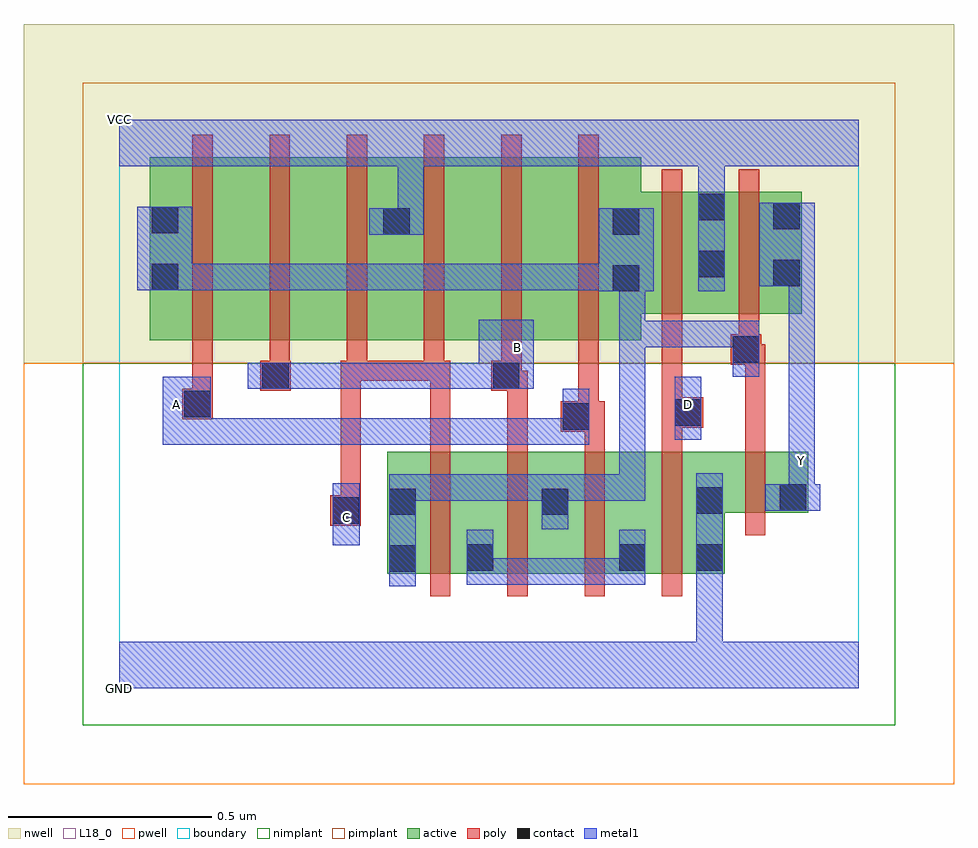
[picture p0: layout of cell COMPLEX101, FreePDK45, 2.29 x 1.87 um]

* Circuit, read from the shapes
.subckt COMPLEX101 A B C D GND VCC Y
M1 n1 C n2 VSUBS nfet w=0.3u l=0.05u
M2 n2 B n1 VSUBS nfet w=0.3u l=0.05u
M3 n1 A n2 VSUBS nfet w=0.3u l=0.05u
M4 GND D n1 VSUBS nfet w=0.3u l=0.05u
M5 Y n2 GND VSUBS nfet w=0.15u l=0.05u
M6 n3 A n2 n4 pfet w=0.45u l=0.05u
M7 n5 B n3 n4 pfet w=0.45u l=0.05u
M8 VCC C n5 n4 pfet w=0.45u l=0.05u
M9 n6 C VCC n4 pfet w=0.45u l=0.05u
M10 n7 B n6 n4 pfet w=0.45u l=0.05u
M11 n2 A n7 n4 pfet w=0.45u l=0.05u
M12 VCC D n2 n4 pfet w=0.3u l=0.05u
M13 Y n2 VCC n4 pfet w=0.3u l=0.05u
.ends

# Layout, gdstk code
import gdstk
lib = gdstk.Library(unit=1e-6, precision=1e-09)
def R(c, l, rs):  # rectangles x0, y0, x1, y1
    for r in rs: c.add(gdstk.rectangle(r[:2], r[2:], *l))
def A(c, l, x, y, w, h, nx, ny, dx, dy):  # array of equal rectangles
    R(c, l, [(x+i*dx, y+j*dy, x+i*dx+w, y+j*dy+h) for i in range(nx) for j in range(ny)])
active = (1, 0)
pwell = (2, 0)
nwell = (3, 0)
nimplant = (4, 0)
pimplant = (5, 0)
poly = (9, 0)
contact = (10, 0)
metal1 = (11, 0)
L18_0 = (18, 0)
boundary = (235, 0)

complex101 = lib.new_cell('COMPLEX101')
R(complex101, active, [(0.66,0.282,0.735,0.582), (0.66,0.282,0.925,0.582), (0.85,0.282,1.11,0.582), (1.035,0.282,1.3,0.582), (1.225,0.282,1.49,0.582), (1.415,0.282,1.49,0.582), (0.85,0.285,0.925,0.417), (1.225,0.285,1.3,0.402), (1.035,0.33,1.11,0.497), (1.415,0.432,1.695,0.582), (1.62,0.432,1.695,0.582), (0.075,0.857,0.3,1.307), (0.075,0.857,0.18,1.2), (0.3,0.857,0.49,1.307), (0.49,0.857,0.72,1.307), (0.645,0.857,0.87,1.307), (0.645,0.857,0.72,1.307), (0.87,0.857,1.06,1.307), (1.06,0.857,1.285,1.307), (1.21,0.922,1.495,1.222), (1.42,0.922,1.495,1.222), (1.42,0.922,1.68,1.222), (1.605,0.922,1.68,1.2), (1.21,0.972,1.285,1.2)])
R(complex101, pwell, [(-0.235,-0.235,2.055,0.8)])
R(complex101, nwell, [(-0.235,0.8,2.055,1.635)])
R(complex101, nimplant, [(-0.09,-0.09,1.91,0.8)])
R(complex101, pimplant, [(-0.09,0.8,1.91,1.49)])
A(complex101, poly, 0.765, 0.227, 0.05, 0.41, 4, 1, 0.19, 0)
A(complex101, poly, 0.37, 0.757, 0.05, 0.095, 4, 1, 0.19, 0)
A(complex101, poly, 0.18, 0.802, 0.05, 0.56, 6, 1, 0.19, 0)
R(complex101, poly, [(1.54,0.377,1.59,0.637), (0.52,0.4,0.595,0.475), (0.545,0.425,0.595,0.807), (0.765,0.587,0.815,0.807), (0.955,0.587,1.005,0.782), (1.145,0.587,1.195,0.682), (1.335,0.587,1.385,0.692), (1.54,0.587,1.59,0.847), (1.087,0.632,1.195,0.707), (1.335,0.642,1.437,0.717), (1.13,0.657,1.18,0.707), (1.13,0.657,1.18,0.707), (1.13,0.657,1.18,0.852), (0.155,0.662,0.23,0.737), (1.335,0.667,1.385,0.717), (1.335,0.667,1.385,0.717), (1.335,0.667,1.385,0.917), (0.18,0.687,0.23,0.737), (0.18,0.687,0.23,0.737), (0.18,0.687,0.23,0.852), (0.347,0.732,0.422,0.807), (0.915,0.732,0.99,0.807), (0.94,0.732,0.99,0.782), (0.94,0.732,1.005,0.782), (0.545,0.757,0.595,0.807), (0.545,0.757,0.595,0.807), (0.545,0.757,0.595,0.807), (0.545,0.757,0.595,0.807), (0.545,0.757,0.61,0.807), (0.56,0.757,0.8,0.807), (0.75,0.757,0.8,0.807), (0.75,0.757,0.8,0.807), (0.75,0.757,0.8,0.807), (0.75,0.757,0.8,0.807), (0.75,0.757,0.815,0.807), (1.505,0.797,1.58,0.872), (1.53,0.797,1.58,0.847), (1.53,0.797,1.59,0.847), (1.525,0.822,1.575,0.917), (1.335,0.867,1.385,1.277), (1.525,0.867,1.575,1.277)])
R(complex101, contact, [(0.665,0.287,0.73,0.352), (0.855,0.29,0.92,0.355), (1.23,0.29,1.295,0.355), (1.42,0.29,1.485,0.355), (0.525,0.405,0.59,0.47), (0.665,0.427,0.73,0.492), (1.04,0.427,1.105,0.492), (1.42,0.43,1.485,0.495), (1.625,0.437,1.69,0.502), (1.092,0.637,1.157,0.702), (1.367,0.647,1.432,0.712), (0.16,0.667,0.225,0.732), (0.352,0.737,0.417,0.802), (0.92,0.737,0.985,0.802), (1.51,0.802,1.575,0.867), (1.215,0.977,1.28,1.042), (0.08,0.98,0.145,1.045), (1.61,0.99,1.675,1.055), (1.425,1.012,1.49,1.077), (0.65,1.117,0.715,1.182), (1.215,1.117,1.28,1.182), (0.08,1.12,0.145,1.185), (1.61,1.13,1.675,1.195), (1.425,1.152,1.49,1.217)])
R(complex101, metal1, [(0,0,1.82,0.115), (1.42,0.05,1.485,0.115), (1.42,0.05,1.485,0.115), (1.42,0.05,1.485,0.32), (0.665,0.252,0.73,0.527), (0.855,0.255,0.92,0.32), (0.855,0.255,0.92,0.32), (0.855,0.255,0.92,0.39), (0.855,0.255,1.107,0.32), (1.042,0.255,1.107,0.32), (1.042,0.255,1.295,0.32), (1.23,0.255,1.295,0.32), (1.23,0.255,1.295,0.32), (1.23,0.255,1.295,0.39), (1.42,0.255,1.485,0.32), (1.42,0.255,1.485,0.32), (1.42,0.255,1.485,0.53), (0.525,0.352,0.592,0.505), (1.04,0.392,1.105,0.527), (1.59,0.437,1.725,0.502), (1.647,0.437,1.712,0.557), (0.665,0.462,0.73,0.527), (0.665,0.462,0.73,0.527), (0.665,0.462,0.95,0.527), (0.885,0.462,0.95,0.527), (0.885,0.462,0.95,0.527), (0.885,0.462,0.95,0.527), (0.885,0.462,1.105,0.527), (1.04,0.462,1.295,0.527), (1.23,0.462,1.295,0.527), (1.23,0.462,1.295,0.527), (1.23,0.462,1.295,0.527), (1.23,0.462,1.295,0.527), (1.23,0.462,1.295,0.527), (1.23,0.462,1.295,0.905), (1.647,0.492,1.712,0.627), (1.647,0.562,1.712,1.055), (0.107,0.6,0.225,0.767), (0.16,0.6,0.362,0.665), (0.297,0.6,0.362,0.665), (0.297,0.6,0.362,0.665), (0.297,0.6,0.362,0.665), (0.297,0.6,0.5,0.665), (0.435,0.6,0.5,0.665), (0.435,0.6,0.592,0.665), (0.527,0.6,0.592,0.665), (0.527,0.6,0.73,0.665), (0.665,0.6,0.73,0.665), (0.665,0.6,0.73,0.665), (0.665,0.6,0.73,0.665), (0.665,0.6,0.867,0.665), (0.802,0.6,0.867,0.665), (0.802,0.6,0.867,0.665), (0.802,0.6,0.867,0.665), (0.802,0.6,1.087,0.665), (1.022,0.6,1.087,0.665), (1.022,0.6,1.157,0.665), (1.092,0.6,1.157,0.737), (1.367,0.612,1.432,0.767), (0.317,0.737,0.452,0.802), (0.387,0.737,0.5,0.802), (0.435,0.737,0.5,0.802), (0.435,0.737,0.592,0.802), (0.527,0.737,0.592,0.802), (0.527,0.737,0.73,0.802), (0.665,0.737,0.73,0.802), (0.665,0.737,0.73,0.802), (0.665,0.737,0.73,0.802), (0.665,0.737,0.95,0.802), (0.885,0.737,0.95,0.802), (0.885,0.737,0.95,0.802), (0.885,0.737,1.02,0.907), (1.51,0.767,1.575,0.905), (1.23,0.84,1.295,0.905), (1.23,0.84,1.437,0.905), (1.23,0.84,1.295,1.042), (1.372,0.84,1.437,0.905), (1.372,0.84,1.437,0.905), (1.372,0.84,1.437,0.905), (1.372,0.84,1.575,0.905), (1.18,0.977,1.315,1.182), (1.425,0.977,1.49,1.252), (0.045,0.98,0.18,1.185), (0.115,0.98,0.18,1.045), (0.115,0.98,0.18,1.045), (0.115,0.98,0.362,1.045), (0.297,0.98,0.362,1.045), (0.297,0.98,0.362,1.045), (0.297,0.98,0.362,1.045), (0.297,0.98,0.5,1.045), (0.435,0.98,0.5,1.045), (0.435,0.98,0.592,1.045), (0.527,0.98,0.592,1.045), (0.527,0.98,0.73,1.045), (0.665,0.98,0.73,1.045), (0.665,0.98,0.73,1.045), (0.665,0.98,0.73,1.045), (0.665,0.98,0.867,1.045), (0.802,0.98,0.867,1.045), (0.802,0.98,0.867,1.045), (0.802,0.98,0.867,1.045), (0.802,0.98,1.107,1.045), (1.042,0.98,1.107,1.045), (1.042,0.98,1.245,1.045), (1.18,0.98,1.245,1.045), (1.18,0.98,1.245,1.045), (1.575,0.99,1.712,1.195), (1.647,0.99,1.712,1.055), (1.647,0.99,1.712,1.055), (0.615,1.117,0.75,1.182), (0.685,1.117,0.75,1.35), (1.425,1.187,1.49,1.35), (0,1.285,1.82,1.4)])
R(complex101, L18_0, [(0,0,1.82,0.115), (1.42,0.05,1.485,0.115), (1.42,0.05,1.485,0.115), (1.42,0.05,1.485,0.32), (1.42,0.255,1.485,0.32), (1.42,0.255,1.485,0.32), (1.42,0.255,1.485,0.53), (0.525,0.352,0.592,0.505), (0.527,0.387,0.592,0.452), (1.59,0.437,1.725,0.502), (1.647,0.437,1.712,0.557), (1.647,0.492,1.712,0.627), (1.647,0.527,1.712,0.592), (1.647,0.562,1.712,1.055), (0.107,0.6,0.225,0.767), (0.16,0.6,0.362,0.665), (0.297,0.6,0.362,0.665), (0.297,0.6,0.362,0.665), (0.297,0.6,0.362,0.665), (0.297,0.6,0.5,0.665), (0.435,0.6,0.5,0.665), (0.435,0.6,0.592,0.665), (0.527,0.6,0.592,0.665), (0.527,0.6,0.73,0.665), (0.665,0.6,0.73,0.665), (0.665,0.6,0.73,0.665), (0.665,0.6,0.73,0.665), (0.665,0.6,0.867,0.665), (0.802,0.6,0.867,0.665), (0.802,0.6,0.867,0.665), (0.802,0.6,0.867,0.665), (0.802,0.6,1.087,0.665), (1.022,0.6,1.087,0.665), (1.022,0.6,1.157,0.665), (1.092,0.6,1.157,0.737), (1.367,0.612,1.432,0.767), (0.107,0.667,0.172,0.732), (1.367,0.667,1.432,0.732), (0.317,0.737,0.452,0.802), (0.387,0.737,0.5,0.802), (0.435,0.737,0.5,0.802), (0.435,0.737,0.592,0.802), (0.527,0.737,0.592,0.802), (0.527,0.737,0.73,0.802), (0.665,0.737,0.73,0.802), (0.665,0.737,0.73,0.802), (0.665,0.737,0.73,0.802), (0.665,0.737,0.95,0.802), (0.885,0.737,0.95,0.802), (0.885,0.737,0.95,0.802), (0.885,0.737,1.02,0.907), (0.947,0.807,1.012,0.872), (1.425,0.977,1.49,1.252), (1.575,0.99,1.712,1.195), (1.647,0.99,1.712,1.055), (1.647,0.99,1.712,1.055), (0.615,1.117,0.75,1.182), (0.685,1.117,0.75,1.35), (1.425,1.187,1.49,1.35), (0,1.285,1.82,1.4)])
R(complex101, boundary, [(0,0,1.82,1.4)])
complex101.add(gdstk.Label('A', (0.14,0.7), layer=11, texttype=0))
complex101.add(gdstk.Label('B', (0.98,0.84), layer=11, texttype=0))
complex101.add(gdstk.Label('C', (0.56,0.42), layer=11, texttype=0))
complex101.add(gdstk.Label('D', (1.4,0.7), layer=11, texttype=0))
complex101.add(gdstk.Label('Y', (1.68,0.56), layer=11, texttype=0))
complex101.add(gdstk.Label('VCC', (0,1.4), layer=11, texttype=0))
complex101.add(gdstk.Label('GND', (0,0), layer=11, texttype=0))

lib.write_gds('COMPLEX101.gds')
